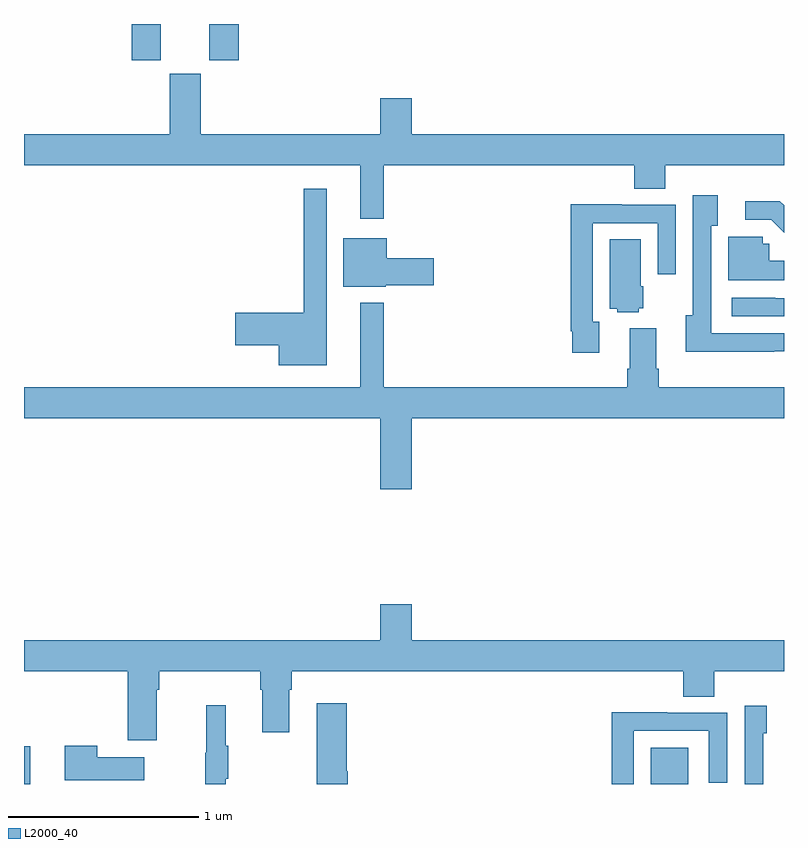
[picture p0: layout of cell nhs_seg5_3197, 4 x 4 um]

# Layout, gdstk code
import gdstk
lib = gdstk.Library(unit=1e-6, precision=1e-09)
def R(c, l, rs):  # rectangles x0, y0, x1, y1
    for r in rs: c.add(gdstk.rectangle(r[:2], r[2:], *l))
def P(c, l, *ps):  # polygons
    for p in ps: c.add(gdstk.Polygon(p, *l))
L2000_40 = (2000, 40)

nhs_seg5_3197 = lib.new_cell('nhs_seg5_3197')
R(nhs_seg5_3197, L2000_40, [(295,890.799,295.034,890.998), (298.298,890.799,298.495,890.989), (295.568,894.609,295.72,894.799), (295.976,894.609,296.129,894.799)])
P(nhs_seg5_3197, L2000_40, [(296.893,894.056),(298.211,894.056),(298.211,893.932),(298.376,893.932),(298.376,894.056),(299,894.056),(299,894.22),(297.04,894.22),(297.04,894.409),(296.876,894.409),(296.876,894.22),(295.93,894.22),(295.93,894.537),(295.766,894.537),(295.766,894.22),(295,894.22),(295,894.056),(296.771,894.056),(296.771,893.775),(296.893,893.775)],
  [(296.593,893.932),(296.472,893.932),(296.472,893.279),(296.112,893.279),(296.112,893.108),(296.342,893.108),(296.342,893.003),(296.593,893.003)],
  [(298.949,893.076),(299,893.076),(299,893.172),(298.617,893.172),(298.617,893.738),(298.651,893.738),(298.651,893.899),(298.521,893.899),(298.521,893.266),(298.484,893.266),(298.484,893.075),(298.949,893.075)],
  [(299,893.845),(298.978,893.867),(298.797,893.867),(298.797,893.769),(298.932,893.769),(299,893.701)],
  [(298.027,893.231),(297.993,893.231),(297.993,893.751),(298.335,893.751),(298.335,893.481),(298.431,893.481),(298.431,893.847),(298.147,893.847),(298.147,893.851),(297.877,893.851),(297.877,893.182),(297.885,893.182),(297.885,893.07),(298.027,893.07)],
  [(299,893.554),(298.923,893.554),(298.923,893.643),(298.887,893.643),(298.887,893.679),(298.706,893.679),(298.706,893.451),(299,893.451)],
  [(296.904,893.423),(297.157,893.423),(297.157,893.565),(296.908,893.565),(296.908,893.671),(296.681,893.671),(296.681,893.417),(296.904,893.417)],
  [(298.236,893.304),(298.258,893.304),(298.258,893.418),(298.246,893.418),(298.246,893.666),(298.082,893.666),(298.082,893.3),(298.122,893.3),(298.122,893.282),(298.236,893.282)],
  [(299,893.355),(298.955,893.355),(298.955,893.358),(298.725,893.358),(298.725,893.262),(299,893.262)],
  [(297.04,892.724),(299,892.724),(299,892.888),(298.34,892.888),(298.34,892.984),(298.327,892.984),(298.327,893.197),(298.187,893.197),(298.187,892.984),(298.175,892.984),(298.175,892.888),(296.893,892.888),(296.893,893.332),(296.771,893.332),(296.771,892.888),(295,892.888),(295,892.724),(296.876,892.724),(296.876,892.35),(297.04,892.35)],
  [(295.699,891.296),(295.712,891.296),(295.712,891.392),(296.243,891.392),(296.243,891.296),(296.255,891.296),(296.255,891.072),(296.395,891.072),(296.395,891.296),(296.408,891.296),(296.408,891.392),(298.469,891.392),(298.469,891.259),(298.634,891.259),(298.634,891.392),(299,891.392),(299,891.556),(297.04,891.556),(297.04,891.745),(296.876,891.745),(296.876,891.556),(295,891.556),(295,891.392),(295.547,891.392),(295.547,891.03),(295.699,891.03)],
  [(296.704,890.865),(296.699,890.865),(296.699,891.223),(296.54,891.223),(296.54,890.799),(296.704,890.799)],
  [(296.063,890.827),(296.074,890.827),(296.074,891.001),(296.063,891.001),(296.063,891.214),(295.96,891.214),(295.96,890.964),(295.953,890.964),(295.953,890.799),(296.063,890.799)],
  [(298.89,891.066),(298.909,891.066),(298.909,891.211),(298.794,891.211),(298.794,890.799),(298.89,890.799)],
  [(298.209,891.078),(298.605,891.078),(298.605,890.805),(298.701,890.805),(298.701,891.174),(298.385,891.174),(298.385,891.176),(298.093,891.176),(298.093,890.799),(298.209,890.799)],
  [(295.633,890.941),(295.385,890.941),(295.385,891.001),(295.214,891.001),(295.214,890.819),(295.633,890.819)])

lib.write_gds('nhs_seg5_3197.gds')
